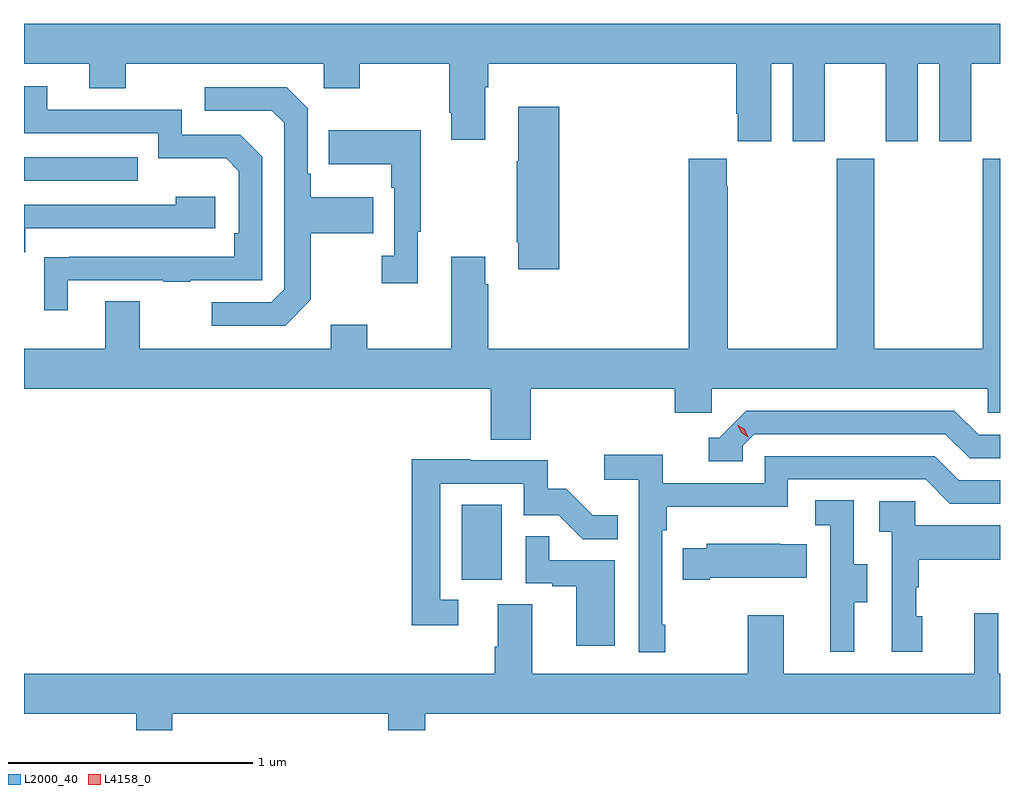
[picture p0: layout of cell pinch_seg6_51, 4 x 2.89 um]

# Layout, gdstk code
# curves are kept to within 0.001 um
import gdstk
lib = gdstk.Library(unit=1e-6, precision=1e-09)
def R(c, l, rs):  # rectangles x0, y0, x1, y1
    for r in rs: c.add(gdstk.rectangle(r[:2], r[2:], *l))
def P(c, l, *ps):  # polygons
    for p in ps: c.add(gdstk.Polygon(p, *l))
L2000_40 = (2000, 40)
L4158_0 = (4158, 0)

pinch_seg6_51 = lib.new_cell('pinch_seg6_51')
R(pinch_seg6_51, L2000_40, [(975.842,939.894,976.006,940.201), (974.047,941.529,974.513,941.625)])
P(pinch_seg6_51, L2000_40, [(977.11,942.008),(977.198,942.008),(977.198,941.691),(977.329,941.691),(977.329,942.008),(977.579,942.008),(977.579,941.691),(977.71,941.691),(977.71,942.008),(977.798,942.008),(977.798,941.691),(977.929,941.691),(977.929,942.008),(978.047,942.008),(978.047,942.172),(974.047,942.172),(974.047,942.008),(974.315,942.008),(974.315,941.909),(974.463,941.909),(974.463,942.008),(975.276,942.008),(975.276,941.909),(975.423,941.909),(975.423,942.008),(975.79,942.008),(975.79,941.809),(975.797,941.809),(975.797,941.697),(975.937,941.697),(975.937,941.912),(975.95,941.912),(975.95,942.008),(976.967,942.008),(976.967,941.803),(976.973,941.803),(976.973,941.691),(977.11,941.691)],
  [(974.227,941.121),(974.617,941.121),(974.617,941.116),(974.729,941.116),(974.729,941.121),(975.024,941.121),(975.024,941.628),(974.934,941.718),(974.694,941.718),(974.694,941.82),(974.143,941.82),(974.143,941.916),(974.047,941.916),(974.047,941.724),(974.598,941.724),(974.598,941.621),(974.875,941.621),(974.928,941.568),(974.928,941.314),(974.908,941.314),(974.908,941.217),(974.131,941.216),(974.131,940.998),(974.227,940.998)],
  [(975.223,941.041),(975.223,941.314),(975.479,941.314),(975.479,941.461),(975.223,941.461),(975.223,941.557),(975.21,941.557),(975.21,941.826),(975.123,941.913),(974.787,941.913),(974.787,941.817),(975.063,941.817),(975.114,941.766),(975.114,941.085),(975.06,941.031),(974.817,941.031),(974.817,940.935),(975.117,940.935)],
  [(976.241,941.833),(976.073,941.833),(976.073,941.609),(976.066,941.609),(976.066,941.278),(976.073,941.278),(976.073,941.166),(976.241,941.166)],
  [(975.661,941.321),(975.673,941.321),(975.673,941.737),(975.295,941.737),(975.295,941.597),(975.552,941.597),(975.552,941.501),(975.564,941.501),(975.564,941.222),(975.513,941.222),(975.513,941.109),(975.661,941.109)],
  [(976.124,940.676),(976.715,940.676),(976.715,940.578),(976.866,940.578),(976.866,940.676),(977.997,940.676),(977.997,940.578),(978.047,940.578),(978.047,941.62),(977.977,941.62),(977.977,940.84),(977.532,940.84),(977.532,941.62),(977.377,941.62),(977.377,940.84),(976.932,940.84),(976.932,941.507),(976.927,941.507),(976.927,941.62),(976.772,941.62),(976.772,940.84),(975.95,940.84),(975.95,941.105),(975.937,941.105),(975.937,941.218),(975.797,941.218),(975.797,940.84),(975.453,940.84),(975.453,940.939),(975.305,940.939),(975.305,940.84),(974.521,940.84),(974.521,941.035),(974.381,941.035),(974.381,940.84),(974.047,940.84),(974.047,940.676),(975.959,940.676),(975.959,940.468),(976.124,940.468)],
  [(974.053,941.334),(974.83,941.334),(974.83,941.464),(974.669,941.464),(974.669,941.43),(974.047,941.43),(974.047,941.237),(974.053,941.237)],
  [(976.992,940.443),(977.04,940.491),(977.823,940.491),(977.922,940.392),(978.047,940.392),(978.047,940.488),(977.959,940.488),(977.86,940.587),(977.007,940.587),(976.896,940.476),(976.853,940.476),(976.853,940.38),(976.992,940.38)],
  [(976.675,939.709),(976.662,939.709),(976.662,940.097),(976.682,940.097),(976.682,940.193),(977.178,940.193),(977.178,940.305),(977.742,940.305),(977.841,940.206),(978.047,940.206),(978.047,940.302),(977.878,940.302),(977.779,940.401),(977.082,940.401),(977.082,940.29),(976.664,940.29),(976.664,940.406),(976.425,940.406),(976.425,940.304),(976.566,940.304),(976.566,939.597),(976.675,939.597)],
  [(975.826,939.813),(975.753,939.813),(975.753,940.287),(976.095,940.287),(976.095,940.158),(976.239,940.158),(976.337,940.06),(976.481,940.06),(976.481,940.159),(976.377,940.159),(976.27,940.266),(976.194,940.266),(976.194,940.383),(975.875,940.383),(975.875,940.388),(975.637,940.388),(975.637,939.708),(975.826,939.708)],
  [(977.449,939.802),(977.503,939.802),(977.503,939.957),(977.448,939.957),(977.448,940.22),(977.289,940.22),(977.289,940.117),(977.352,940.117),(977.352,939.813),(977.351,939.813),(977.351,939.6),(977.449,939.6)],
  [(977.728,939.744),(977.703,939.744),(977.703,939.863),(977.713,939.863),(977.713,939.977),(978.047,939.977),(978.047,940.117),(977.7,940.117),(977.7,940.215),(977.553,940.215),(977.553,940.091),(977.604,940.091),(977.604,939.6),(977.728,939.6)],
  [(976.468,939.975),(976.199,939.975),(976.199,940.073),(976.104,940.073),(976.104,939.879),(976.211,939.879),(976.211,939.867),(976.31,939.867),(976.31,939.624),(976.468,939.624)],
  [(976.858,939.902),(977.255,939.902),(977.255,940.039),(977.147,940.039),(977.147,940.042),(976.845,940.042),(976.845,940.024),(976.747,940.024),(976.747,939.895),(976.858,939.895)],
  [(974.047,939.344),(974.507,939.344),(974.507,939.278),(974.655,939.278),(974.655,939.344),(975.539,939.344),(975.539,939.278),(975.692,939.278),(975.692,939.344),(978.047,939.344),(978.047,939.508),(978.039,939.508),(978.039,939.757),(977.942,939.757),(977.942,939.508),(977.161,939.508),(977.161,939.748),(977.014,939.748),(977.014,939.508),(976.129,939.508),(976.129,939.794),(975.989,939.794),(975.989,939.62),(975.977,939.62),(975.977,939.508),(974.047,939.508)])
P(pinch_seg6_51, L4158_0, [(977.016,940.478),(976.986,940.497),(976.97,940.53),(976.97,940.53),(976.97,940.53),(977.001,940.51),(977.016,940.478),(977.016,940.478)])

lib.write_gds('pinch_seg6_51.gds')
